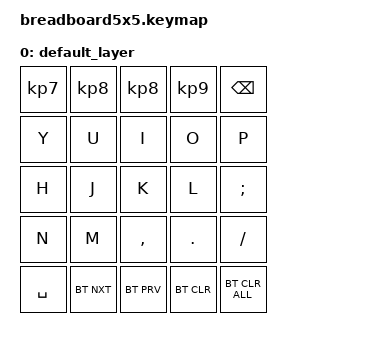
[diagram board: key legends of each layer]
#include <behaviors.dtsi>
#include <dt-bindings/zmk/keys.h>
#include <dt-bindings/zmk/bt.h>

/ {
    keymap {
        compatible = "zmk,keymap";

        default_layer {
            bindings = <
            // +---------------+---------------+---------------+---------------+---------------+
            // |               |               |               |               |               |
                &kp KP_N7       &kp KP_N8       &kp KP_N8       &kp KP_N9       &kp BACKSPACE
            // |               |               |               |               |               |
            // +---------------+---------------+---------------+---------------+---------------+
            // |               |               |               |               |               |
                &kp Y           &kp U           &kp I           &kp O           &kp P
            // |               |               |               |               |               |
            // +---------------+---------------+---------------+---------------+---------------+
            // |               |               |               |               |               |
                &kp H           &kp J           &kp K           &kp L           &kp SEMICOLON
            // |               |               |               |               |               |
            // +---------------+---------------+---------------+---------------+---------------+
            // |               |               |               |               |               |
                &kp N           &kp M           &kp COMMA       &kp PERIOD      &kp SLASH
            // |               |               |               |               |               |
            // +---------------+---------------+---------------+---------------+---------------+
            // |               |               |               |               |               |
                &kp SPACE       &bt BT_NXT      &bt BT_PRV      &bt BT_CLR      &bt BT_CLR_ALL
            // |               |               |               |               |               |
            // +---------------+---------------+---------------+---------------+---------------+
            >;
        };
    };
};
